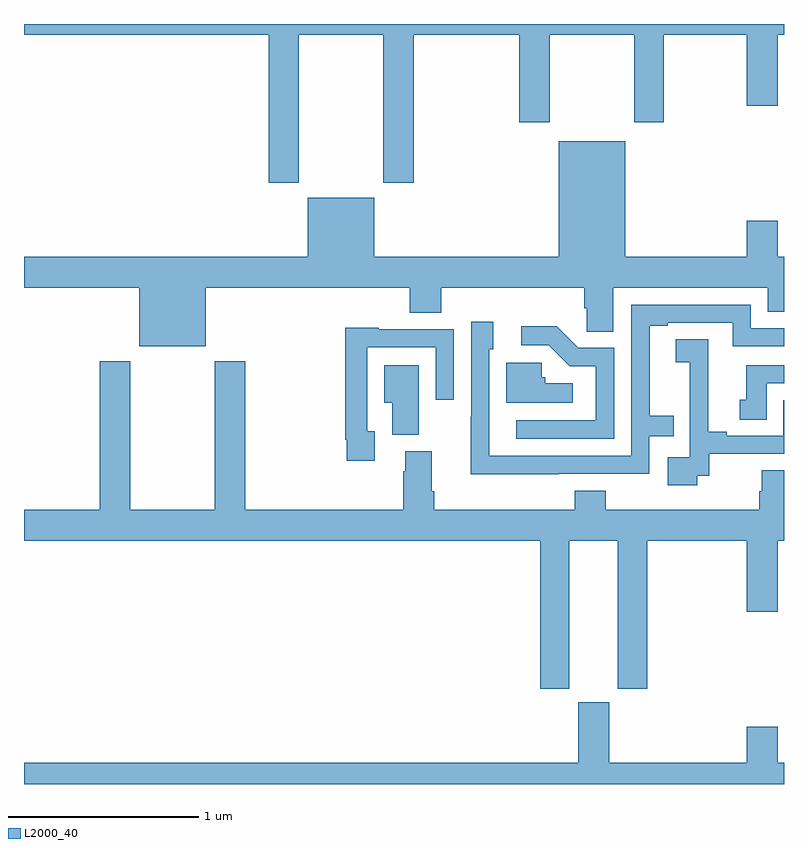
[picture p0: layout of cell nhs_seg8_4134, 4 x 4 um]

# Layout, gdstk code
import gdstk
lib = gdstk.Library(unit=1e-6, precision=1e-09)
def P(c, l, *ps):  # polygons
    for p in ps: c.add(gdstk.Polygon(p, *l))
L2000_40 = (2000, 40)

nhs_seg8_4134 = lib.new_cell('nhs_seg8_4134')
P(nhs_seg8_4134, L2000_40, [(366.447,1105.844),(366.892,1105.844),(366.892,1105.065),(367.052,1105.065),(367.052,1105.844),(367.607,1105.844),(367.607,1105.383),(367.767,1105.383),(367.767,1105.844),(368.212,1105.844),(368.212,1105.383),(368.367,1105.383),(368.367,1105.844),(368.804,1105.844),(368.804,1105.47),(368.968,1105.47),(368.968,1105.844),(369,1105.844),(369,1105.9),(365,1105.9),(365,1105.844),(366.287,1105.844),(366.287,1105.065),(366.447,1105.065)],
  [(365.956,1104.512),(367.031,1104.512),(367.031,1104.379),(367.196,1104.379),(367.196,1104.512),(367.949,1104.512),(367.949,1104.403),(367.962,1104.403),(367.962,1104.28),(368.101,1104.28),(368.101,1104.512),(368.915,1104.512),(368.915,1104.385),(369,1104.385),(369,1104.676),(368.968,1104.676),(368.968,1104.865),(368.804,1104.865),(368.804,1104.676),(368.164,1104.676),(368.164,1105.282),(367.814,1105.282),(367.814,1104.676),(366.844,1104.676),(366.844,1104.985),(366.494,1104.985),(366.494,1104.676),(365,1104.676),(365,1104.512),(365.606,1104.512),(365.606,1104.203),(365.956,1104.203)],
  [(367.814,1103.532),(368.292,1103.532),(368.292,1103.73),(368.42,1103.73),(368.42,1103.839),(368.293,1103.839),(368.293,1104.312),(368.389,1104.312),(368.389,1104.327),(368.73,1104.327),(368.73,1104.204),(369,1104.204),(369,1104.3),(368.826,1104.3),(368.826,1104.423),(368.196,1104.423),(368.196,1103.628),(367.449,1103.628),(367.449,1104.189),(367.471,1104.189),(367.471,1104.334),(367.353,1104.334),(367.353,1103.834),(367.352,1103.834),(367.352,1103.531),(367.814,1103.531)],
  [(368.106,1104.195),(367.917,1104.195),(367.804,1104.308),(367.617,1104.308),(367.617,1104.21),(367.761,1104.21),(367.872,1104.099),(368.01,1104.099),(368.01,1103.814),(367.59,1103.814),(367.59,1103.718),(368.106,1103.718)],
  [(366.847,1103.757),(366.807,1103.757),(366.807,1104.198),(367.167,1104.198),(367.167,1103.922),(367.263,1103.922),(367.263,1104.294),(366.867,1104.294),(366.867,1104.301),(366.691,1104.301),(366.691,1103.713),(366.699,1103.713),(366.699,1103.601),(366.847,1103.601)],
  [(368.544,1103.523),(368.606,1103.523),(368.606,1103.637),(369,1103.637),(369,1103.919),(368.997,1103.919),(368.997,1103.733),(368.698,1103.733),(368.698,1103.753),(368.602,1103.753),(368.602,1104.131),(368.6,1104.131),(368.6,1104.242),(368.43,1104.242),(368.43,1104.121),(368.504,1104.121),(368.504,1103.923),(368.505,1103.923),(368.505,1103.619),(368.388,1103.619),(368.388,1103.472),(368.544,1103.472)],
  [(367.87,1103.18),(368.126,1103.18),(368.126,1102.401),(368.279,1102.401),(368.279,1103.18),(368.804,1103.18),(368.804,1102.806),(368.968,1102.806),(368.968,1103.18),(369,1103.18),(369,1103.552),(368.882,1103.552),(368.882,1103.442),(368.87,1103.442),(368.87,1103.344),(368.063,1103.344),(368.063,1103.443),(367.898,1103.443),(367.898,1103.344),(367.16,1103.344),(367.16,1103.44),(367.147,1103.44),(367.147,1103.652),(367.007,1103.652),(367.007,1103.546),(366.995,1103.546),(366.995,1103.344),(366.164,1103.344),(366.164,1104.124),(366.004,1104.124),(366.004,1103.344),(365.559,1103.344),(365.559,1104.124),(365.399,1104.124),(365.399,1103.344),(365,1103.344),(365,1103.18),(367.718,1103.18),(367.718,1102.401),(367.87,1102.401)],
  [(367.888,1104.01),(367.744,1104.01),(367.744,1104.042),(367.725,1104.042),(367.725,1104.117),(367.538,1104.117),(367.538,1103.906),(367.888,1103.906)],
  [(368.908,1104.009),(369,1104.009),(369,1104.105),(368.801,1104.105),(368.801,1103.922),(368.768,1103.922),(368.768,1103.818),(368.908,1103.818)],
  [(367.078,1104.103),(366.896,1104.103),(366.896,1103.906),(366.938,1103.906),(366.938,1103.737),(367.078,1103.737)],
  [(369,1102.012),(368.968,1102.012),(368.968,1102.201),(368.804,1102.201),(368.804,1102.012),(368.08,1102.012),(368.08,1102.329),(367.916,1102.329),(367.916,1102.012),(365,1102.012),(365,1101.9),(369,1101.9)])

lib.write_gds('nhs_seg8_4134.gds')
